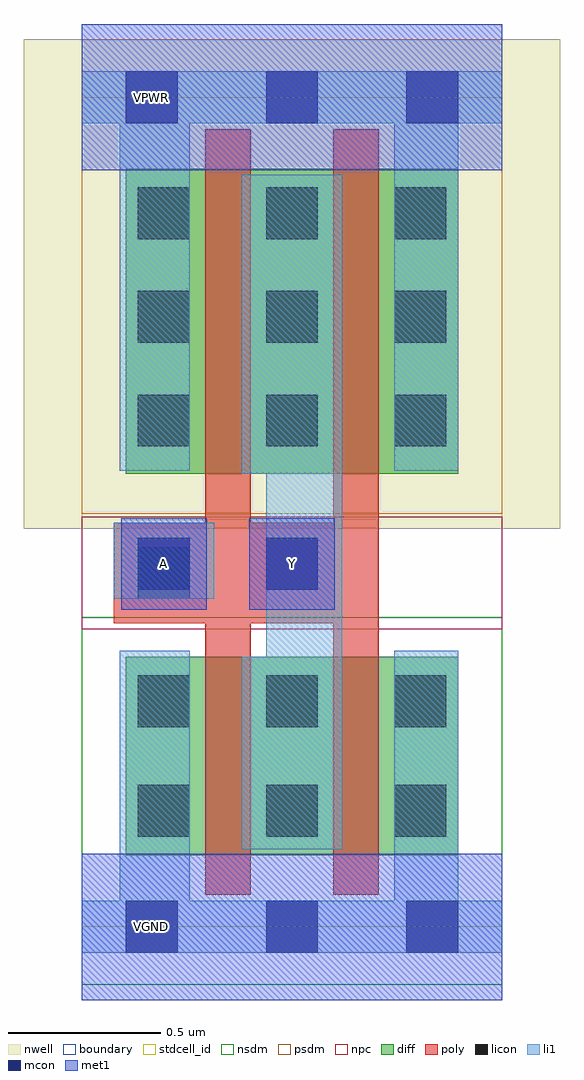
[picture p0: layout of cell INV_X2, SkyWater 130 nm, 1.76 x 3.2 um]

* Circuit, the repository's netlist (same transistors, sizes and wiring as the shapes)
.subckt INV_X2 A Y VPWR VGND VNB
M0 Y A VPWR nwell_i sky130_fd_pr__pfet_01v8 L=0.15u W=2.0u
M1 Y A VGND VNB sky130_fd_pr__nfet_01v8 L=0.15u W=1.3u
.ends

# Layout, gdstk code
import gdstk
lib = gdstk.Library(unit=1e-6, precision=1e-09)
def R(c, l, rs):  # rectangles x0, y0, x1, y1
    for r in rs: c.add(gdstk.rectangle(r[:2], r[2:], *l))
def A(c, l, x, y, w, h, nx, ny, dx, dy):  # array of equal rectangles
    R(c, l, [(x+i*dx, y+j*dy, x+i*dx+w, y+j*dy+h) for i in range(nx) for j in range(ny)])
nwell = (64, 20)
diff = (65, 20)
poly = (66, 20)
licon = (66, 44)
li1 = (67, 20)
mcon = (67, 44)
met1 = (68, 20)
stdcell_id = (81, 4)
nsdm = (93, 44)
psdm = (94, 20)
npc = (95, 20)
boundary = (235, 4)

inv_x2 = lib.new_cell('INV_X2')
R(inv_x2, nwell, [(-0.19,1.305,1.57,2.91)])
R(inv_x2, diff, [(0.145,0.235,1.235,0.885), (0.145,1.485,1.235,2.485)])
R(inv_x2, poly, [(0.405,0.105,0.555,2.615), (0.825,0.105,0.975,2.615), (0.105,0.995,0.975,1.325)])
A(inv_x2, licon, 0.185, 0.295, 0.17, 0.17, 3, 2, 0.42, 0.36)
A(inv_x2, licon, 0.185, 1.575, 0.17, 0.17, 3, 3, 0.42, 0.34)
R(inv_x2, licon, [(0.185,1.075,0.355,1.245)])
R(inv_x2, li1, [(0,-0.085,1.38,0.085), (0.125,0.085,0.355,0.905), (1.025,0.085,1.235,0.905), (0.525,0.255,0.855,0.885), (0.605,0.885,0.855,1.485), (0.105,1.075,0.435,1.325), (0.525,1.485,0.855,2.465), (0.125,1.495,0.355,2.635), (1.025,1.495,1.235,2.635), (0,2.635,1.38,2.805)])
A(inv_x2, mcon, 0.145, -0.085, 0.17, 0.17, 3, 2, 0.46, 2.72)
R(inv_x2, mcon, [(0.185,1.105,0.355,1.275), (0.605,1.105,0.775,1.275)])
R(inv_x2, met1, [(0,-0.24,1.38,0.24), (0.13,1.04,0.41,1.34), (0.55,1.04,0.83,1.34), (0,2.48,1.38,2.96)])
R(inv_x2, stdcell_id, [(0,0,1.38,2.72)])
R(inv_x2, nsdm, [(0,-0.19,1.38,1.015)])
R(inv_x2, psdm, [(0,1.355,1.38,2.91)])
R(inv_x2, npc, [(0,0.975,1.38,1.345)])
R(inv_x2, boundary, [(0,0,1.38,2.72)])
inv_x2.add(gdstk.Label('A', (0.27,1.19), layer=68, texttype=5))
inv_x2.add(gdstk.Label('Y', (0.69,1.19), layer=68, texttype=5))
inv_x2.add(gdstk.Label('VPWR', (0.23,2.72), layer=68, texttype=5))
inv_x2.add(gdstk.Label('VGND', (0.23,0), layer=68, texttype=5))

lib.write_gds('INV_X2.gds')
